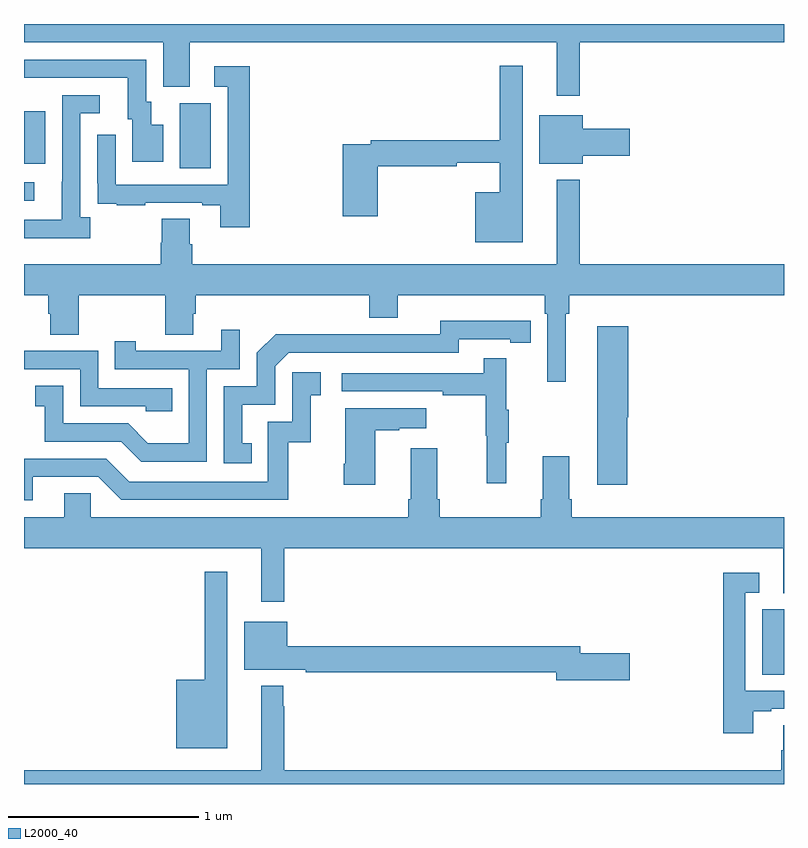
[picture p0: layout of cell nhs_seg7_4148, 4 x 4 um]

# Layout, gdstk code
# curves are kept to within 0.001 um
import gdstk
lib = gdstk.Library(unit=1e-6, precision=1e-09)
def R(c, l, rs):  # rectangles x0, y0, x1, y1
    for r in rs: c.add(gdstk.rectangle(r[:2], r[2:], *l))
def P(c, l, *ps):  # polygons
    for p in ps: c.add(gdstk.Polygon(p, *l))
L2000_40 = (2000, 40)

nhs_seg7_4148 = lib.new_cell('nhs_seg7_4148')
R(nhs_seg7_4148, L2000_40, [(376.886,1042.576,377,1042.92), (373,1045.071,373.054,1045.167), (373.82,1045.24,373.984,1045.584), (373,1045.265,373.111,1045.54)])
P(nhs_seg7_4148, L2000_40, [(375.925,1045.904),(377,1045.904),(377,1046),(373,1046),(373,1045.904),(373.733,1045.904),(373.733,1045.669),(373.873,1045.669),(373.873,1045.904),(375.803,1045.904),(375.803,1045.623),(375.925,1045.623)],
  [(373.732,1045.471),(373.669,1045.471),(373.669,1045.59),(373.644,1045.59),(373.644,1045.812),(373,1045.812),(373,1045.716),(373.547,1045.716),(373.547,1045.5),(373.571,1045.5),(373.571,1045.275),(373.732,1045.275)],
  [(375.625,1045.78),(375.504,1045.78),(375.504,1045.388),(374.824,1045.388),(374.824,1045.368),(374.678,1045.368),(374.678,1044.987),(374.861,1044.987),(374.861,1045.252),(375.278,1045.252),(375.278,1045.271),(375.504,1045.271),(375.504,1045.114),(375.374,1045.114),(375.374,1044.851),(375.625,1044.851)],
  [(374.189,1045.777),(374.001,1045.777),(374.001,1045.671),(374.073,1045.671),(374.073,1045.155),(373.482,1045.155),(373.482,1045.417),(373.386,1045.417),(373.386,1045.162),(373.387,1045.162),(373.387,1045.053),(373.489,1045.053),(373.489,1045.047),(373.637,1045.047),(373.637,1045.059),(373.937,1045.059),(373.937,1045.047),(374.033,1045.047),(374.033,1044.93),(374.189,1044.93)],
  [(373.348,1044.982),(373.296,1044.982),(373.296,1045.53),(373.399,1045.53),(373.399,1045.626),(373.2,1045.626),(373.2,1045.169),(373.199,1045.169),(373.199,1044.969),(373,1044.969),(373,1044.872),(373.348,1044.872)],
  [(375.94,1045.307),(376.189,1045.307),(376.189,1045.449),(375.94,1045.449),(375.94,1045.519),(375.713,1045.519),(375.713,1045.265),(375.94,1045.265)],
  [(375.85,1044.476),(375.869,1044.476),(375.869,1044.572),(377,1044.572),(377,1044.736),(375.925,1044.736),(375.925,1045.18),(375.803,1045.18),(375.803,1044.736),(373.886,1044.736),(373.886,1044.842),(373.873,1044.842),(373.873,1044.974),(373.726,1044.974),(373.726,1044.849),(373.721,1044.849),(373.721,1044.736),(373,1044.736),(373,1044.572),(373.127,1044.572),(373.127,1044.474),(373.139,1044.474),(373.139,1044.364),(373.287,1044.364),(373.287,1044.572),(373.744,1044.572),(373.744,1044.364),(373.891,1044.364),(373.891,1044.474),(373.904,1044.474),(373.904,1044.572),(374.816,1044.572),(374.816,1044.455),(374.968,1044.455),(374.968,1044.572),(375.74,1044.572),(375.74,1044.476),(375.753,1044.476),(375.753,1044.117),(375.85,1044.117)],
  [(374.198,1043.793),(374.149,1043.793),(374.149,1043.997),(374.322,1043.997),(374.322,1044.198),(374.394,1044.27),(375.288,1044.27),(375.288,1044.342),(375.56,1044.342),(375.56,1044.322),(375.668,1044.322),(375.668,1044.438),(375.192,1044.439),(375.192,1044.366),(374.732,1044.366),(374.732,1044.368),(374.324,1044.368),(374.226,1044.27),(374.226,1044.093),(374.052,1044.093),(374.052,1043.688),(374.198,1043.688)],
  [(376.175,1043.931),(376.18,1043.931),(376.18,1044.409),(376.016,1044.409),(376.016,1043.574),(376.175,1043.574)],
  [(373.962,1044.183),(374.136,1044.183),(374.136,1044.391),(374.039,1044.391),(374.039,1044.279),(373.588,1044.279),(373.588,1044.331),(373.477,1044.331),(373.477,1044.183),(373.866,1044.183),(373.866,1043.794),(373.652,1043.794),(373.548,1043.898),(373.206,1043.898),(373.206,1044.097),(373.059,1044.097),(373.059,1043.987),(373.108,1043.987),(373.108,1043.802),(373.511,1043.802),(373.616,1043.697),(373.962,1043.697)],
  [(373.781,1044.084),(373.392,1044.084),(373.392,1044.279),(373,1044.279),(373,1044.183),(373.296,1044.183),(373.296,1043.988),(373.641,1043.988),(373.641,1043.961),(373.781,1043.961)],
  [(375.539,1043.795),(375.55,1043.795),(375.55,1043.969),(375.539,1043.969),(375.539,1044.241),(375.421,1044.241),(375.421,1044.162),(374.673,1044.162),(374.673,1044.066),(375.205,1044.066),(375.205,1044.046),(375.429,1044.046),(375.429,1043.832),(375.436,1043.832),(375.436,1043.583),(375.539,1043.583)],
  [(373.045,1043.616),(373.392,1043.616),(373.512,1043.496),(374.392,1043.496),(374.392,1043.799),(374.51,1043.799),(374.51,1044.045),(374.563,1044.045),(374.563,1044.166),(374.412,1044.166),(374.412,1043.907),(374.283,1043.907),(374.283,1043.592),(373.554,1043.592),(373.434,1043.712),(373,1043.712),(373,1043.493),(373.045,1043.493)],
  [(374.848,1043.863),(374.975,1043.863),(374.975,1043.873),(375.118,1043.873),(375.118,1043.977),(374.69,1043.977),(374.69,1043.686),(374.683,1043.686),(374.683,1043.574),(374.848,1043.574)],
  [(374.371,1043.24),(376.997,1043.24),(376.997,1043.005),(377,1043.005),(377,1043.404),(375.884,1043.404),(375.884,1043.5),(375.871,1043.5),(375.871,1043.725),(375.731,1043.725),(375.731,1043.5),(375.719,1043.5),(375.719,1043.404),(375.188,1043.404),(375.188,1043.5),(375.175,1043.5),(375.175,1043.767),(375.035,1043.767),(375.035,1043.5),(375.023,1043.5),(375.023,1043.404),(373.35,1043.404),(373.35,1043.531),(373.211,1043.531),(373.211,1043.404),(373,1043.404),(373,1043.24),(374.249,1043.24),(374.249,1042.959),(374.371,1042.959)],
  [(374.071,1043.116),(373.95,1043.116),(373.95,1042.549),(373.802,1042.549),(373.802,1042.187),(374.071,1042.187)],
  [(376.837,1042.382),(376.933,1042.382),(376.933,1042.395),(377,1042.395),(377,1042.491),(376.797,1042.491),(376.797,1043.007),(376.87,1043.007),(376.87,1043.113),(376.681,1043.113),(376.681,1042.266),(376.837,1042.266)],
  [(376.189,1042.688),(375.928,1042.688),(375.928,1042.724),(374.386,1042.724),(374.386,1042.855),(374.159,1042.855),(374.159,1042.601),(374.482,1042.601),(374.482,1042.588),(375.8,1042.588),(375.8,1042.546),(376.189,1042.546)],
  [(377,1042.31),(376.997,1042.31),(376.997,1042.178),(376.985,1042.178),(376.985,1042.072),(374.371,1042.072),(374.371,1042.409),(374.364,1042.409),(374.364,1042.516),(374.249,1042.516),(374.249,1042.072),(373,1042.072),(373,1042),(377,1042)])

lib.write_gds('nhs_seg7_4148.gds')
